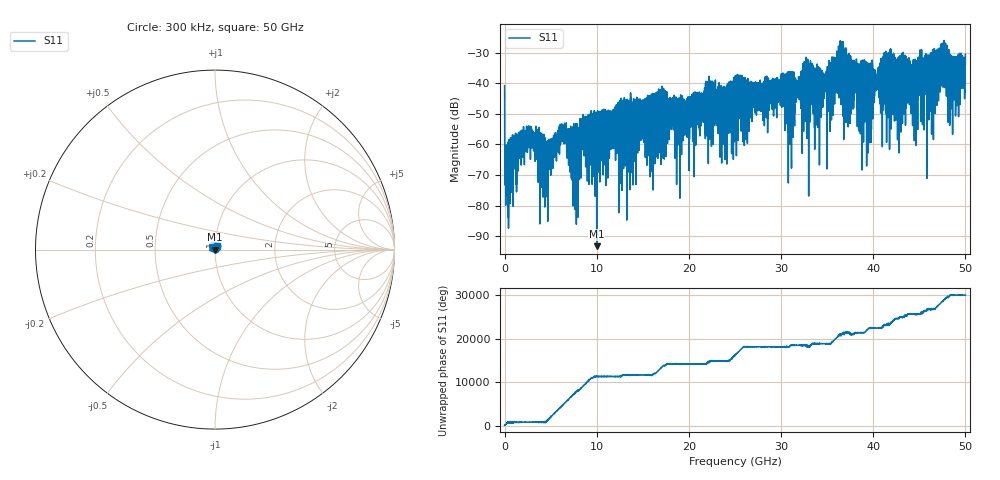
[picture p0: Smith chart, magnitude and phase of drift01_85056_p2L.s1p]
!Created with skrf (http://scikit-rf.org).
# Hz S RI R 50.0
!freq ReS11 ImS11
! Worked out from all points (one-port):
!   10001 points, 300 kHz to 50 GHz, reference 50 ohm
!   lowest |S11| = -93.3 dB at 9.995 GHz (marker M1), VSWR 1.00, Z = 50 - j0.00186 ohm
!   |S11| at or under -10 dB: start of sweep to end of sweep
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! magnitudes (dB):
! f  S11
! 300 kHz  -40.8
! 255.3 MHz  -63.4
! 360.3 MHz  -62.5
! 2.4 GHz  -56.0
! 4.545 GHz  -68.6
! 6.25 GHz  -57.5
! 7.845 GHz  -55.8
! 8.545 GHz  -53.9
! 9.995 GHz  -93.3
! 12.5 GHz  -48.4
! 16.89 GHz  -42.8
! 18.75 GHz  -45.2
! 22.37 GHz  -40.8
! 23.75 GHz  -56.3
! 25 GHz  -43.9
! 31.25 GHz  -38.5
! 33.3 GHz  -34.3
! 35.08 GHz  -39.9
! 36.44 GHz  -36.5
! 37.5 GHz  -38.4
! 39.87 GHz  -35.9
! 42.03 GHz  -33.5
! 42.67 GHz  -39.8
! 43.75 GHz  -36.7
! 46.06 GHz  -45.8
! 47.52 GHz  -29.6
! 48.86 GHz  -31.2
! 50 GHz  -30.5
